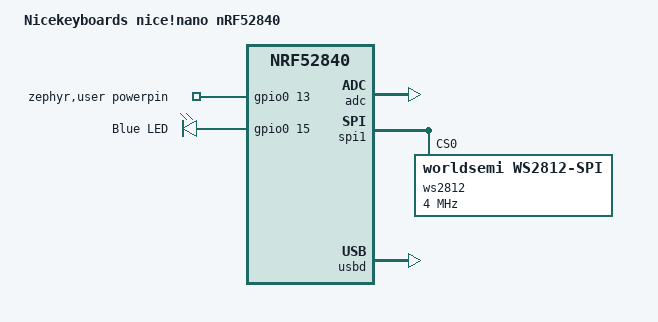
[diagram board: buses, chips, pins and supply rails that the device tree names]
/*
* Copyright (c) 2022 Embla Flatlandsmo <embla.flatlandsmo@gmail.com>
*
* SPDX-License-Identifier: Apache-2.0
*/

/dts-v1/;
#include <nordic/nrf52840_qiaa.dtsi>
#include "nicekeyboards_nicenano_nrf52840-pinctrl.dtsi"
#include <zephyr/dt-bindings/input/input-event-codes.h>
#include <zephyr/dt-bindings/led/led.h>
#include <zephyr/dt-bindings/gpio/gpio.h>

/ {
	zephyr,user {
		powerpin-gpios = <&gpio0 13 GPIO_ACTIVE_HIGH>;
	};
	
	model = "Nicekeyboards nice!nano nRF52840";
	compatible = "nicekeyboards,nicenano-nrf52840";
	
	chosen {
		zephyr,console = &cdc_acm_uart0;
		zephyr,shell-uart = &cdc_acm_uart0;
		zephyr,sram = &sram0;
		zephyr,flash = &flash0;
		zephyr,ieee802154 = &ieee802154;
		zephyr,code-partition = &slot0_partition;
	};
	
	leds {
		compatible = "gpio-leds";
		led0: led_0 {
			gpios = <&gpio0 15 GPIO_ACTIVE_HIGH>;
			label = "Blue LED";
		};
		status = "okay";
	};
	
	/* These aliases are provided for compatibility with samples */
	aliases {
		led0 = &led0;
		watchdog0 = &wdt0;
		led-strip = &ws2812;
	};
};

&adc {
	status = "okay";
};

&uicr {
	gpio-as-nreset;
};

&gpiote {
	status = "okay";
};

&gpio0 {
	status = "okay";
};

&gpio1 {
	status = "okay";
};

&spi1 {
	status = "okay";
	pinctrl-0 = <&spi2_default>;
	pinctrl-1 = <&spi2_sleep>;
	pinctrl-names = "default", "sleep";
	ws2812: ws2812@0 {
		compatible = "worldsemi,ws2812-spi";
		reg = <0>;
		spi-max-frequency = <4000000>;
		chain-length = <116>;
		color-mapping = <LED_COLOR_ID_BLUE
		LED_COLOR_ID_GREEN
		LED_COLOR_ID_RED>;
		spi-one-frame = <0x70>;
		spi-zero-frame = <0x40>;
	};
};

&flash0 {
	partitions {
		compatible = "fixed-partitions";
		#address-cells = <1>;
		#size-cells = <1>;
		
		boot_partition: partition@0 {
			label = "mcuboot";
			reg = <0x00000000 0x0000C000>;
		};
		slot0_partition: partition@c000 {
			label = "image-0";
			reg = <0x0000C000 0x00076000>;
		};
		slot1_partition: partition@82000 {
			label = "image-1";
			reg = <0x00082000 0x00076000>;
		};
		
		/*
		* The flash starting at 0x000f8000 and ending at
		* 0x000fffff is reserved for use by the application.
		*/
		
		/*
		* Storage partition will be used by FCB/LittleFS/NVS
		* if enabled.
		*/
		storage_partition: partition@f8000 {
			label = "storage";
			reg = <0x000f8000 0x00008000>;
		};
	};
};

zephyr_udc0: &usbd {
	compatible = "nordic,nrf-usbd";
	status = "okay";
	
	cdc_acm_uart0: cdc_acm_uart0 {
		compatible = "zephyr,cdc-acm-uart";
	};
};
